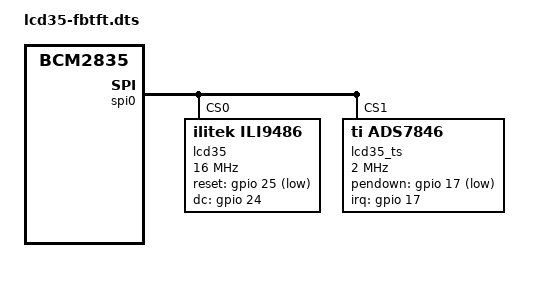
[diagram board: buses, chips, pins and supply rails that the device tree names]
// 3.5" GPIO LCD (goodtft LCD35 / tft35a) on the fbtft fb_ili9486 driver, with the tft35a init sequence
// (16-bit register width through the board's shift register). Gives /dev/fb0, not a DRM output.
// Build: dtc -q -@ -I dts -O dtb -o /boot/firmware/overlays/lcd35-fbtft.dtbo lcd35-fbtft.dts
/dts-v1/;
/plugin/;

/ {
	compatible = "brcm,bcm2835";

	fragment@0 {
		target = <&spi0>;
		__overlay__ {
			status = "okay";
		};
	};

	fragment@1 {
		target = <&spidev0>;
		__overlay__ {
			status = "disabled";
		};
	};

	fragment@2 {
		target = <&spidev1>;
		__overlay__ {
			status = "disabled";
		};
	};

	fragment@3 {
		target = <&gpio>;
		__overlay__ {
			lcd35_pins: lcd35_pins {
				brcm,pins = <17 25 24>;
				brcm,function = <0 1 1>;
			};
		};
	};

	fragment@4 {
		target = <&spi0>;
		__overlay__ {
			#address-cells = <1>;
			#size-cells = <0>;

			lcd35: lcd35@0 {
				compatible = "ilitek,ili9486";
				reg = <0>;
				pinctrl-names = "default";
				pinctrl-0 = <&lcd35_pins>;
				spi-max-frequency = <16000000>;
				rotate = <270>;
				bgr;
				fps = <30>;
				buswidth = <8>;
				regwidth = <16>;
				reset-gpios = <&gpio 25 1>;
				dc-gpios = <&gpio 24 0>;
				debug = <0>;
				init = <0x10000b0 0x00
					0x1000011
					0x20000ff
					0x100003a 0x55
					0x1000036 0x28
					0x10000c2 0x44
					0x10000c5 0x00 0x00 0x00 0x00
					0x10000e0 0x0f 0x1f 0x1c 0x0c 0x0f 0x08 0x48 0x98 0x37 0x0a 0x13 0x04 0x11 0x0d 0x00
					0x10000e1 0x0f 0x32 0x2e 0x0b 0x0d 0x05 0x47 0x75 0x37 0x06 0x10 0x03 0x24 0x20 0x00
					0x10000e2 0x0f 0x32 0x2e 0x0b 0x0d 0x05 0x47 0x75 0x37 0x06 0x10 0x03 0x24 0x20 0x00
					0x1000036 0x28
					0x1000011
					0x1000029>;
			};

			lcd35_ts: lcd35-ts@1 {
				compatible = "ti,ads7846";
				reg = <1>;
				spi-max-frequency = <2000000>;
				interrupts = <17 2>;
				interrupt-parent = <&gpio>;
				pendown-gpio = <&gpio 17 1>;
				ti,x-plate-ohms = /bits/ 16 <60>;
				ti,pressure-max = /bits/ 16 <255>;
			};
		};
	};

	__overrides__ {
		speed = <&lcd35>, "spi-max-frequency:0";
		rotate = <&lcd35>, "rotate:0";
		fps = <&lcd35>, "fps:0";
		swapxy = <&lcd35_ts>, "ti,swap-xy?";
	};
};
